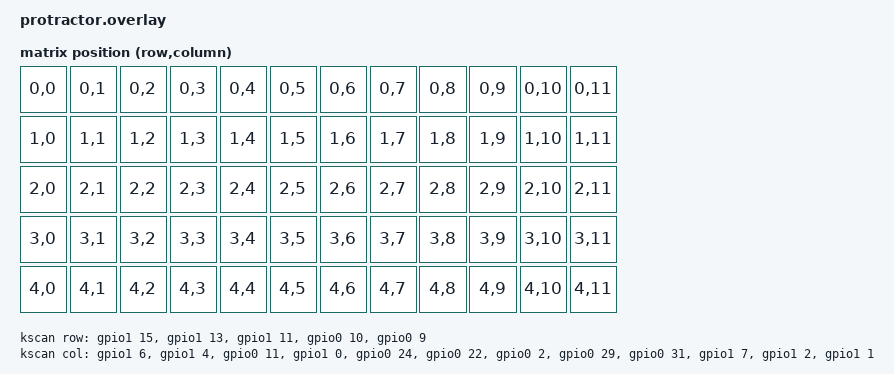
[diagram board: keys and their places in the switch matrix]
/*
 * Copyright (c) 2025 The ZMK Contributors
 *
 * SPDX-License-Identifier: MIT
 */

//================================================================================
//
//				           	V-		USB		V+				
//	    		D1	 P0.06	PD3				RAW	 			
//	     		D0	 P0.08	PD2	L1		 L2	GND	 				
//							GND				RST					
//							GND				VCC	 P0.13+				
//	        	D2	 P0.17	PD1  Nice!Nano	PF4	 P0.31	 D21    Col 8
//	        	D3	 P0.20	PD0  v2 clone	PF5	 P0.29	 D20	Col 7
//	Col 5		D4	 P0.22	PD4  (top view)	PF6	 P0.02	 D19	Col 6
//	Col 4		D5	 P0.24	PC6				PF7	 P1.15	 D18	Row 0
//	Col 3		D6	 P1.00	PD7				PB1	 P1.13	 D15	Row 1
//	Col 2		D7	 P0.11	PE6				PB3	 P1.11	 D14	Row 2
//	Col 1		D8	 P1.04	PB4	O O O		PB2	 P0.10	 D16	Row 3
//	Col 0		D9	 P1.06	PB5	| | |		PB6	 P0.09	 D10	Row 4
//								| | |
//					 P1.01	____| | |	&gpio1 1	Col 11
//					 P1.02	______| |	&gpio1 2	Col 10
//					 P1.07	________|	&gpio1 7	Col 9
//	L1 (LED1)		 P0.15
//	L2 (LED2)	     charging
//	SET HIGH TO OFF  P0.13+
//
//================================================================================

#include <dt-bindings/zmk/matrix_transform.h>

/ {
	chosen {
		zmk,kscan = &kscan;
		zmk,matrix_transform = &transform;
	};
	
	kscan: kscan {
		compatible = "zmk,kscan-gpio-matrix";
		label = "KSCAN";
		diode-direction = "col2row";
		wakeup-source;
		
		row-gpios = <&gpio1 15 (GPIO_ACTIVE_HIGH | GPIO_PULL_DOWN)>,
					<&gpio1 13 (GPIO_ACTIVE_HIGH | GPIO_PULL_DOWN)>,
					<&gpio1 11 (GPIO_ACTIVE_HIGH | GPIO_PULL_DOWN)>,
					<&gpio0 10 (GPIO_ACTIVE_HIGH | GPIO_PULL_DOWN)>,
					<&gpio0  9 (GPIO_ACTIVE_HIGH | GPIO_PULL_DOWN)>;
					
		col-gpios = <&gpio1  6 (GPIO_ACTIVE_HIGH)>,
					<&gpio1  4 (GPIO_ACTIVE_HIGH)>,
					<&gpio0 11 (GPIO_ACTIVE_HIGH)>,
					<&gpio1  0 (GPIO_ACTIVE_HIGH)>,
					<&gpio0 24 (GPIO_ACTIVE_HIGH)>,
					<&gpio0 22 (GPIO_ACTIVE_HIGH)>,
					<&gpio0  2 (GPIO_ACTIVE_HIGH)>,
					<&gpio0 29 (GPIO_ACTIVE_HIGH)>,
					<&gpio0 31 (GPIO_ACTIVE_HIGH)>,
					<&gpio1  7 (GPIO_ACTIVE_HIGH)>,
					<&gpio1  2 (GPIO_ACTIVE_HIGH)>,
					<&gpio1  1 (GPIO_ACTIVE_HIGH)>;
	};
	
	transform: matrix_transform {
		compatible = "zmk,matrix-transform";
		rows = <5>;
		columns = <12>;
		
		map = <
				RC(0, 0) RC(0, 1) RC(0, 2) RC(0, 3) RC(0, 4) RC(0, 5) RC(0, 6) RC(0, 7) RC(0, 8) RC(0, 9) RC(0, 10) RC(0, 11) 
				RC(1, 0) RC(1, 1) RC(1, 2) RC(1, 3) RC(1, 4) RC(1, 5) RC(1, 6) RC(1, 7) RC(1, 8) RC(1, 9) RC(1, 10) RC(1, 11) 
				RC(2, 0) RC(2, 1) RC(2, 2) RC(2, 3) RC(2, 4) RC(2, 5) RC(2, 6) RC(2, 7) RC(2, 8) RC(2, 9) RC(2, 10) RC(2, 11) 
				RC(3, 0) RC(3, 1) RC(3, 2) RC(3, 3) RC(3, 4) RC(3, 5) RC(3, 6) RC(3, 7) RC(3, 8) RC(3, 9) RC(3, 10) RC(3, 11) 
				RC(4, 0) RC(4, 1) RC(4, 2) RC(4, 3) RC(4, 4) RC(4, 5) RC(4, 6) RC(4, 7) RC(4, 8) RC(4, 9) RC(4, 10) RC(4, 11) 
		>;
	};
};
